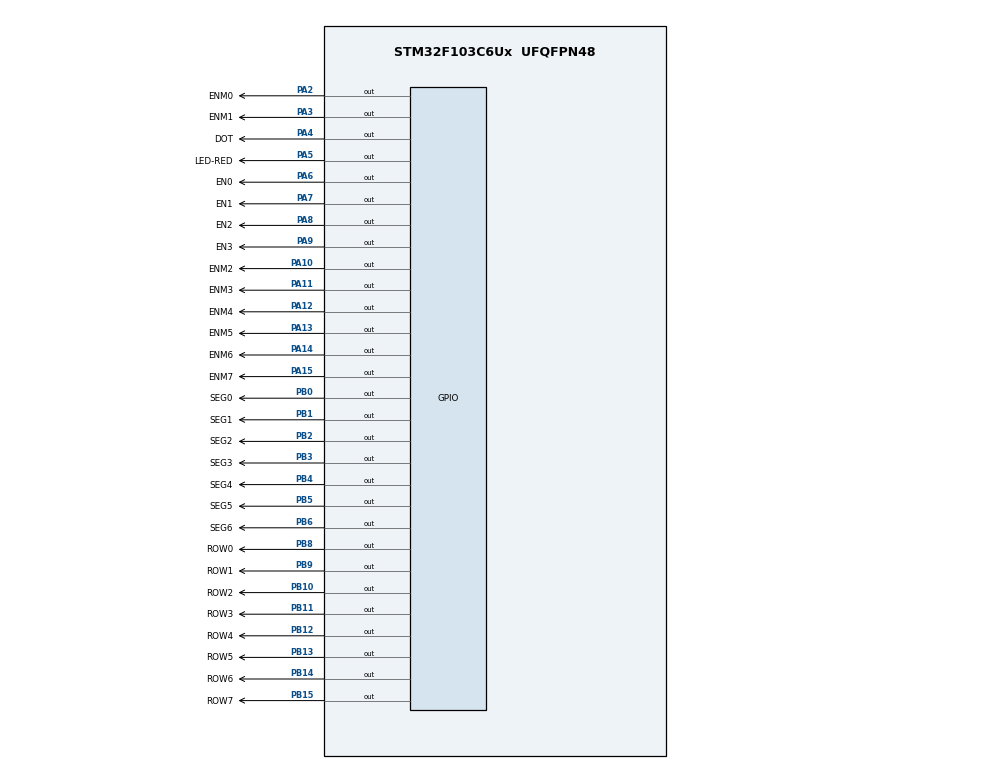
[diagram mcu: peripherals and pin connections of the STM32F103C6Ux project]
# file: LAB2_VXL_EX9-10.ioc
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Mcu.Family=STM32F1
Mcu.Name=STM32F103C6Ux
Mcu.Package=UFQFPN48
NVIC.PriorityGroup=NVIC_PRIORITYGROUP_4
NVIC.TIM2_IRQn=true\:0\:0\:false\:false\:true\:true\:true
PA10.GPIO_Label=ENM2
PA10.Signal=GPIO_Output
PA11.GPIO_Label=ENM3
PA11.Signal=GPIO_Output
PA12.GPIO_Label=ENM4
PA12.Signal=GPIO_Output
PA13.GPIO_Label=ENM5
PA13.Signal=GPIO_Output
PA14.GPIO_Label=ENM6
PA14.Signal=GPIO_Output
PA15.GPIO_Label=ENM7
PA15.Signal=GPIO_Output
PA2.GPIO_Label=ENM0
PA2.Signal=GPIO_Output
PA3.GPIO_Label=ENM1
PA3.Signal=GPIO_Output
PA4.GPIO_Label=DOT
PA4.Signal=GPIO_Output
PA5.GPIO_Label=LED-RED
PA5.Signal=GPIO_Output
PA6.GPIO_Label=EN0
PA6.Signal=GPIO_Output
PA7.GPIO_Label=EN1
PA7.Signal=GPIO_Output
PA8.GPIO_Label=EN2
PA8.Signal=GPIO_Output
PA9.GPIO_Label=EN3
PA9.Signal=GPIO_Output
PB0.GPIO_Label=SEG0
PB0.Signal=GPIO_Output
PB1.GPIO_Label=SEG1
PB1.Signal=GPIO_Output
PB10.GPIO_Label=ROW2
PB10.Signal=GPIO_Output
PB11.GPIO_Label=ROW3
PB11.Signal=GPIO_Output
PB12.GPIO_Label=ROW4
PB12.Signal=GPIO_Output
PB13.GPIO_Label=ROW5
PB13.Signal=GPIO_Output
PB14.GPIO_Label=ROW6
PB14.Signal=GPIO_Output
PB15.GPIO_Label=ROW7
PB15.Signal=GPIO_Output
PB2.GPIO_Label=SEG2
PB2.Signal=GPIO_Output
PB3.GPIO_Label=SEG3
PB3.Signal=GPIO_Output
PB4.GPIO_Label=SEG4
PB4.Signal=GPIO_Output
PB5.GPIO_Label=SEG5
PB5.Signal=GPIO_Output
PB6.GPIO_Label=SEG6
PB6.Signal=GPIO_Output
PB8.GPIO_Label=ROW0
PB8.Signal=GPIO_Output
PB9.GPIO_Label=ROW1
PB9.Signal=GPIO_Output
ProjectManager.HeapSize=0x200
ProjectManager.StackSize=0x400
ProjectManager.TargetToolchain=STM32CubeIDE
RCC.APB1Freq_Value=8000000
RCC.APB2Freq_Value=8000000
TIM2.Period=9
TIM2.Prescaler=7999
VP_SYS_VS_ND.Mode=No_Debug
VP_TIM2_VS_ClockSourceINT.Mode=Internal
board=custom

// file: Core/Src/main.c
/* USER CODE BEGIN Header */
/**
  ******************************************************************************
  * @file           : main.c
  * @brief          : Main program body
  ******************************************************************************
  * @attention
  *
  * <h2><center>&copy; Copyright (c) 2025 STMicroelectronics.
  * All rights reserved.</center></h2>
  *
  * This software component is licensed by ST under BSD 3-Clause license,
  * the "License"; You may not use this file except in compliance with the
  * License. You may obtain a copy of the License at:
  *                        opensource.org/licenses/BSD-3-Clause
  *
  ******************************************************************************
  */
/* USER CODE END Header */
#include "main.h"

TIM_HandleTypeDef htim2;

void SystemClock_Config(void);
static void MX_GPIO_Init(void);
static void MX_TIM2_Init(void);

/* USER CODE BEGIN 0 */
int TIMER_CYCLE = 10;
int TIMER1_CYCLE = 100;
const int MAX_LED_MATRIX = 8;
int hour = 16;
int minute = 59;
int second = 55;

int timer0_counter = 0;
int timer0_flag = 0;

int timer1_counter = 0;
int timer1_flag = 0;

int timer2_counter = 0;
int timer2_flag = 0;

int index_led_matrix = 0;
int t=0;
uint8_t matrix_buffer [8] = {0xFF, 0x03, 0x01, 0xCC, 0xCC, 0x01, 0x03, 0xFF};  			//A
//uint8_t matrix_buffer[10] = {0xFF,0xFF,0xFF, 0xC0, 0x9F, 0x3F, 0x3F, 0x9F, 0xC0, 0xFF};		//V
uint16_t list_ENM[8] = {
	ENM0_Pin, ENM1_Pin, ENM2_Pin, ENM3_Pin,
	ENM4_Pin, ENM5_Pin, ENM6_Pin, ENM7_Pin
};

void updateLEDMatrix(int index) {
	for(int i =0; i < MAX_LED_MATRIX; i++)
			HAL_GPIO_WritePin(GPIOA, list_ENM[i], GPIO_PIN_SET);
		HAL_GPIO_WritePin(GPIOA, list_ENM[index], GPIO_PIN_RESET);
		for(int i =0; i < MAX_LED_MATRIX; ++i){
				HAL_GPIO_WritePin(GPIOB, ROW0_Pin << i, (matrix_buffer[(index+t)%10] >> i) & 0x01);
		}

}

void setTimer0(int duration) {
    timer0_counter = duration / TIMER_CYCLE;
    timer0_flag = 0;
}
void setTimer1 (int duration){
	timer1_counter = duration/TIMER_CYCLE;
	timer1_flag = 0;
}
void setTimer2 (int duration){
	timer2_counter = duration/TIMER1_CYCLE;
	timer2_flag = 0;
}
void timer_run() {
    if (timer0_counter > 0) {
        timer0_counter--;
        if (timer0_counter <= 0) timer0_flag = 1;
    }
    if (timer1_counter > 0){
    	timer1_counter--;
    	if (timer1_counter <= 0) timer1_flag = 1;
    	}
    if (timer2_counter > 0){
        	timer2_counter--;
        	if (timer2_counter <= 0) timer2_flag = 1;
        	}
}
void display7SEG(int num){
	char led7segm[10]={0xC0, 0xF9, 0xA4, 0xB0, 0x99, 0x92, 0x82, 0xF8, 0x80, 0x90};
	for(int i=0;i<7;i++){
		HAL_GPIO_WritePin(GPIOB, SEG0_Pin<<i,(led7segm[num]>>i)&1);
	}
	t = (t+1) % 24;
}
const int MAX_LED = 4;
int index_led = 0;
int led_buffer[4] = {1 , 2 , 3 , 4};
void update7SEG(int index){

	 for(int i=0; i< MAX_LED; i++)
		 HAL_GPIO_WritePin(GPIOA, EN0_Pin << i, GPIO_PIN_SET);
	 HAL_GPIO_WritePin(GPIOA, EN0_Pin << index, GPIO_PIN_RESET);
	 display7SEG(led_buffer[index]);
}
void updateClockBuffer(){
	led_buffer[0] = hour / 10;
	led_buffer[1] = hour % 10;
	led_buffer[2] = minute / 10;
	led_buffer[3] = minute % 10;
}
/* USER CODE END 0 */

int main(void)
{

  /* MCU Configuration--------------------------------------------------------*/

  /* Reset of all peripherals, Initializes the Flash interface and the Systick. */
  HAL_Init();

  /* Configure the system clock */
  SystemClock_Config();

  /* Initialize all configured peripherals */
  MX_GPIO_Init();
  MX_TIM2_Init();
  /* USER CODE BEGIN 2 */
  HAL_TIM_Base_Start_IT (&htim2 ) ;
  /* USER CODE END 2 */

  /* Infinite loop */
  setTimer0(1000);
  setTimer1(250);
  setTimer2(100);
  int index_led = 0;
  for(int i=0; i< MAX_LED; i++)
	  HAL_GPIO_WritePin(GPIOA, EN0_Pin << i, GPIO_PIN_SET);
  for(int i =0; i < MAX_LED_MATRIX; i++){
  	  HAL_GPIO_WritePin(GPIOA, list_ENM[i], GPIO_PIN_SET);
  }
  	  HAL_GPIO_WritePin(GPIOA, LED_RED_Pin, GPIO_PIN_SET);
  	  HAL_GPIO_WritePin(GPIOA, DOT_Pin, GPIO_PIN_SET);

     /* USER CODE END 2 */

     /* Infinite loop */
     /* USER CODE BEGIN WHILE */
     while (1)
     {
 		updateClockBuffer();

  	   //ex7
         if (timer0_flag == 1)
         {

             if (second >= 60) {
                 second = 0;
                 minute++;
             }
             if (minute >= 60) {
                 minute = 0;
                 hour++;
             }
             if (hour >= 24) {
                 hour = 0;
             }

             updateClockBuffer();
             setTimer0(1000);
             second++;
         }
         //ex8
         if (timer1_flag == 1){
        	 setTimer1(250);
        	 HAL_GPIO_TogglePin(GPIOA, LED_RED_Pin);
         	 update7SEG(index_led++);
         	 if(index_led == MAX_LED) HAL_GPIO_TogglePin(GPIOA, DOT_Pin);
         	 index_led = index_led % MAX_LED;

         }
         if(timer2_flag == 1){
        	  		  updateLEDMatrix(index_led_matrix++);
        	  		  index_led_matrix = index_led_matrix % MAX_LED_MATRIX;

        	  		  setTimer2(100);
         }
     }
}

void SystemClock_Config(void)
{
  RCC_OscInitTypeDef RCC_OscInitStruct = {0};
  RCC_ClkInitTypeDef RCC_ClkInitStruct = {0};

  /** Initializes the RCC Oscillators according to the specified parameters
  * in the RCC_OscInitTypeDef structure.
  */
  RCC_OscInitStruct.OscillatorType = RCC_OSCILLATORTYPE_HSI;
  RCC_OscInitStruct.HSIState = RCC_HSI_ON;
  RCC_OscInitStruct.HSICalibrationValue = RCC_HSICALIBRATION_DEFAULT;
  RCC_OscInitStruct.PLL.PLLState = RCC_PLL_NONE;
  if (HAL_RCC_OscConfig(&RCC_OscInitStruct) != HAL_OK)
  {
    Error_Handler();
  }
  /** Initializes the CPU, AHB and APB buses clocks
  */
  RCC_ClkInitStruct.ClockType = RCC_CLOCKTYPE_HCLK|RCC_CLOCKTYPE_SYSCLK
                              |RCC_CLOCKTYPE_PCLK1|RCC_CLOCKTYPE_PCLK2;
  RCC_ClkInitStruct.SYSCLKSource = RCC_SYSCLKSOURCE_HSI;
  RCC_ClkInitStruct.AHBCLKDivider = RCC_SYSCLK_DIV1;
  RCC_ClkInitStruct.APB1CLKDivider = RCC_HCLK_DIV1;
  RCC_ClkInitStruct.APB2CLKDivider = RCC_HCLK_DIV1;

  if (HAL_RCC_ClockConfig(&RCC_ClkInitStruct, FLASH_LATENCY_0) != HAL_OK)
  {
    Error_Handler();
  }
}

static void MX_TIM2_Init(void)
{

  TIM_ClockConfigTypeDef sClockSourceConfig = {0};
  TIM_MasterConfigTypeDef sMasterConfig = {0};

  htim2.Instance = TIM2;
  htim2.Init.Prescaler = 7999;
  htim2.Init.CounterMode = TIM_COUNTERMODE_UP;
  htim2.Init.Period = 9;
  htim2.Init.ClockDivision = TIM_CLOCKDIVISION_DIV1;
  htim2.Init.AutoReloadPreload = TIM_AUTORELOAD_PRELOAD_DISABLE;
  if (HAL_TIM_Base_Init(&htim2) != HAL_OK)
  {
    Error_Handler();
  }
  sClockSourceConfig.ClockSource = TIM_CLOCKSOURCE_INTERNAL;
  if (HAL_TIM_ConfigClockSource(&htim2, &sClockSourceConfig) != HAL_OK)
  {
    Error_Handler();
  }
  sMasterConfig.MasterOutputTrigger = TIM_TRGO_RESET;
  sMasterConfig.MasterSlaveMode = TIM_MASTERSLAVEMODE_DISABLE;
  if (HAL_TIMEx_MasterConfigSynchronization(&htim2, &sMasterConfig) != HAL_OK)
  {
    Error_Handler();
  }

}

static void MX_GPIO_Init(void)
{
  GPIO_InitTypeDef GPIO_InitStruct = {0};

  /* GPIO Ports Clock Enable */
  __HAL_RCC_GPIOA_CLK_ENABLE();
  __HAL_RCC_GPIOB_CLK_ENABLE();

  /*Configure GPIO pin Output Level */
  HAL_GPIO_WritePin(GPIOA, ENM0_Pin|ENM1_Pin|DOT_Pin|LED_RED_Pin
                          |EN0_Pin|EN1_Pin|EN2_Pin|EN3_Pin
                          |ENM2_Pin|ENM3_Pin|ENM4_Pin|ENM5_Pin
                          |ENM6_Pin|ENM7_Pin, GPIO_PIN_RESET);

  /*Configure GPIO pin Output Level */
  HAL_GPIO_WritePin(GPIOB, SEG0_Pin|SEG1_Pin|SEG2_Pin|ROW2_Pin
                          |ROW3_Pin|ROW4_Pin|ROW5_Pin|ROW6_Pin
                          |ROW7_Pin|SEG3_Pin|SEG4_Pin|SEG5_Pin
                          |SEG6_Pin|ROW0_Pin|ROW1_Pin, GPIO_PIN_RESET);

  /*Configure GPIO pins : ENM0_Pin ENM1_Pin DOT_Pin LED_RED_Pin
                           EN0_Pin EN1_Pin EN2_Pin EN3_Pin
                           ENM2_Pin ENM3_Pin ENM4_Pin ENM5_Pin
                           ENM6_Pin ENM7_Pin */
  GPIO_InitStruct.Pin = ENM0_Pin|ENM1_Pin|DOT_Pin|LED_RED_Pin
                          |EN0_Pin|EN1_Pin|EN2_Pin|EN3_Pin
                          |ENM2_Pin|ENM3_Pin|ENM4_Pin|ENM5_Pin
                          |ENM6_Pin|ENM7_Pin;
  GPIO_InitStruct.Mode = GPIO_MODE_OUTPUT_PP;
  GPIO_InitStruct.Pull = GPIO_NOPULL;
  GPIO_InitStruct.Speed = GPIO_SPEED_FREQ_LOW;
  HAL_GPIO_Init(GPIOA, &GPIO_InitStruct);

  /*Configure GPIO pins : SEG0_Pin SEG1_Pin SEG2_Pin ROW2_Pin
                           ROW3_Pin ROW4_Pin ROW5_Pin ROW6_Pin
                           ROW7_Pin SEG3_Pin SEG4_Pin SEG5_Pin
                           SEG6_Pin ROW0_Pin ROW1_Pin */
  GPIO_InitStruct.Pin = SEG0_Pin|SEG1_Pin|SEG2_Pin|ROW2_Pin
                          |ROW3_Pin|ROW4_Pin|ROW5_Pin|ROW6_Pin
                          |ROW7_Pin|SEG3_Pin|SEG4_Pin|SEG5_Pin
                          |SEG6_Pin|ROW0_Pin|ROW1_Pin;
  GPIO_InitStruct.Mode = GPIO_MODE_OUTPUT_PP;
  GPIO_InitStruct.Pull = GPIO_NOPULL;
  GPIO_InitStruct.Speed = GPIO_SPEED_FREQ_LOW;
  HAL_GPIO_Init(GPIOB, &GPIO_InitStruct);

}

/* USER CODE BEGIN 4 */
void HAL_TIM_PeriodElapsedCallback(TIM_HandleTypeDef *htim){
	 timer_run();
}
/* USER CODE END 4 */

void Error_Handler(void)
{
  __disable_irq();
  while (1)
  {
  }
}

/************************ (C) COPYRIGHT STMicroelectronics *****END OF FILE****/
